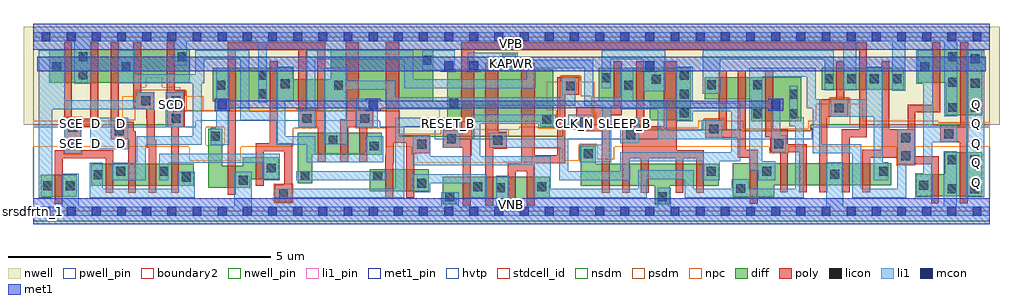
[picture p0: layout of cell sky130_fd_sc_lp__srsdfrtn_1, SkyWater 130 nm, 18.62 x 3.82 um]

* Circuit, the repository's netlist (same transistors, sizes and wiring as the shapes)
* Copyright 2020 The SkyWater PDK Authors
*
* Licensed under the Apache License, Version 2.0 (the "License");
* you may not use this file except in compliance with the License.
* You may obtain a copy of the License at
*
*     https://www.apache.org/licenses/LICENSE-2.0
*
* Unless required by applicable law or agreed to in writing, software
* distributed under the License is distributed on an "AS IS" BASIS,
* WITHOUT WARRANTIES OR CONDITIONS OF ANY KIND, either express or implied.
* See the License for the specific language governing permissions and
* limitations under the License.
*
* SPDX-License-Identifier: Apache-2.0

.SUBCKT sky130_fd_sc_lp__srsdfrtn_1 CLK_N D RESET_B SCD SCE SLEEP_B KAPWR VGND VNB VPB VPWR Q
*.PININFO CLK_N:I D:I RESET_B:I SCD:I SCE:I SLEEP_B:I KAPWR:I VGND:I
*.PININFO VNB:I VPB:I VPWR:I Q:O
MI683 net077 M1 net0143 VNB sky130_fd_pr__nfet_01v8 m=1 w=0.42U l=0.15U mult=1
+ sa=0.265 sb=0.265 sd=0.28 area=0.063 perim=1.14
MI688 db clkneg net0104 VNB sky130_fd_pr__nfet_01v8 m=1 w=0.42U l=0.15U mult=1
+ sa=0.265 sb=0.265 sd=0.28 area=0.063 perim=1.14
MI675 sleep SLEEP_B net0102 VNB sky130_fd_pr__nfet_01v8 m=1 w=0.42U l=0.15U mult=1
+ sa=0.265 sb=0.265 sd=0.28 area=0.063 perim=1.14
MI684 M1 M0 net0110 VNB sky130_fd_pr__nfet_01v8 m=1 w=0.42U l=0.15U mult=1 sa=0.265
+ sb=0.265 sd=0.28 area=0.063 perim=1.14
MI642 clkpos CLK_N net0123 VNB sky130_fd_pr__nfet_01v8 m=1 w=0.42U l=0.15U mult=1
+ sa=0.265 sb=0.265 sd=0.28 area=0.063 perim=1.14
MI636 clkneg clkpos VGND VNB sky130_fd_pr__nfet_01v8 m=1 w=0.42U l=0.15U mult=1
+ sa=0.265 sb=0.265 sd=0.28 area=0.063 perim=1.14
MI674 net062 s0 net079 VNB sky130_fd_pr__nfet_01v8 m=1 w=0.42U l=0.15U mult=1 sa=0.265
+ sb=0.265 sd=0.28 area=0.063 perim=1.14
MI690 net096 clkneg net0101 VNB sky130_fd_pr__nfet_01v8 m=1 w=0.42U l=0.15U mult=1
+ sa=0.265 sb=0.265 sd=0.28 area=0.063 perim=1.14
MI42 net0104 clkneg M0 VNB sky130_fd_pr__nfet_01v8 m=1 w=0.42U l=0.15U mult=1 sa=0.265
+ sb=0.265 sd=0.28 area=0.063 perim=1.14
MI657 net079 RESET_B VGND VNB sky130_fd_pr__nfet_01v8 m=1 w=0.42U l=0.15U mult=1
+ sa=0.265 sb=0.265 sd=0.28 area=0.063 perim=1.14
MI33 net069 RESET_B VGND VNB sky130_fd_pr__nfet_01v8 m=1 w=0.42U l=0.15U mult=1
+ sa=0.265 sb=0.265 sd=0.28 area=0.063 perim=1.14
MI634 sceb SCE VGND VNB sky130_fd_pr__nfet_01v8 m=1 w=0.42U l=0.15U mult=1 sa=0.265
+ sb=0.265 sd=0.28 area=0.063 perim=1.14
MI4 M0 clkpos net077 VNB sky130_fd_pr__nfet_01v8 m=1 w=0.42U l=0.15U mult=1 sa=0.265
+ sb=0.265 sd=0.28 area=0.063 perim=1.14
MI34 net0143 M1 net069 VNB sky130_fd_pr__nfet_01v8 m=1 w=0.42U l=0.15U mult=1 sa=0.265
+ sb=0.265 sd=0.28 area=0.063 perim=1.14
MI655 s0 clkneg net096 VNB sky130_fd_pr__nfet_01v8 m=1 w=0.42U l=0.15U mult=1 sa=0.265
+ sb=0.265 sd=0.28 area=0.063 perim=1.14
MI652 net041 s0 VGND VNB sky130_fd_pr__nfet_01v8 m=1 w=0.42U l=0.15U mult=1 sa=0.265
+ sb=0.265 sd=0.28 area=0.063 perim=1.14
MI653 Q net041 VGND VNB sky130_fd_pr__nfet_01v8 m=1 w=0.84U l=0.15U mult=1 sa=0.265
+ sb=0.265 sd=0.28 area=0.063 perim=1.14
MI654 net0101 net062 VGND VNB sky130_fd_pr__nfet_01v8 m=1 w=0.42U l=0.15U mult=1
+ sa=0.265 sb=0.265 sd=0.28 area=0.063 perim=1.14
MI647 net0110 M0 VGND VNB sky130_fd_pr__nfet_01v8 m=1 w=0.42U l=0.15U mult=1 sa=0.265
+ sb=0.265 sd=0.28 area=0.063 perim=1.14
MI649 M1 clkpos s0 VNB sky130_fd_pr__nfet_01v8 m=1 w=0.64U l=0.15U mult=1 sa=0.265
+ sb=0.265 sd=0.28 area=0.063 perim=1.14
MI671 net0115 SLEEP_B VGND VNB sky130_fd_pr__nfet_01v8 m=1 w=0.42U l=0.15U mult=1
+ sa=0.265 sb=0.265 sd=0.28 area=0.063 perim=1.14
MI670 net0123 SLEEP_B net0115 VNB sky130_fd_pr__nfet_01v8 m=1 w=0.42U l=0.15U mult=1
+ sa=0.265 sb=0.265 sd=0.28 area=0.063 perim=1.14
MI676 net0102 SLEEP_B VGND VNB sky130_fd_pr__nfet_01v8 m=1 w=0.42U l=0.15U mult=1
+ sa=0.265 sb=0.265 sd=0.28 area=0.063 perim=1.14
MI681 net069 sleep VGND VNB sky130_fd_pr__nfet_01v8 m=1 w=0.42U l=0.15U mult=1
+ sa=0.265 sb=0.265 sd=0.28 area=0.063 perim=1.14
MI666 net84 RESET_B VGND VNB sky130_fd_pr__nfet_01v8 m=1 w=0.42U l=0.15U mult=1
+ sa=0.265 sb=0.265 sd=0.28 area=0.525 perim=3.1
MI98 db D n0 VNB sky130_fd_pr__nfet_01v8 m=1 w=0.42U l=0.15U mult=1 sa=0.265 sb=0.265
+ sd=0.28 area=0.525 perim=3.1
MI103 n1 SCD net84 VNB sky130_fd_pr__nfet_01v8 m=1 w=0.42U l=0.15U mult=1 sa=0.265
+ sb=0.265 sd=0.28 area=0.525 perim=3.1
MI120 db SCE n1 VNB sky130_fd_pr__nfet_01v8 m=1 w=0.42U l=0.15U mult=1 sa=0.265
+ sb=0.265 sd=0.28 area=0.525 perim=3.1
MI104 n0 sceb net84 VNB sky130_fd_pr__nfet_01v8 m=1 w=0.42U l=0.15U mult=1 sa=0.265
+ sb=0.265 sd=0.28 area=0.525 perim=3.1
MI643 clkpos CLK_N KAPWR VPB sky130_fd_pr__pfet_01v8_hvt m=1 w=0.64U l=0.15U mult=1
+ sa=0.265 sb=0.265 sd=0.28 area=0.063 perim=1.14
MI687 db clkpos net0220 VPB sky130_fd_pr__pfet_01v8_hvt m=1 w=0.42U l=0.15U mult=1
+ sa=0.265 sb=0.265 sd=0.28 area=0.063 perim=1.14
MI679 net062 RESET_B VPWR VPB sky130_fd_pr__pfet_01v8_hvt m=1 w=0.42U l=0.15U mult=1
+ sa=0.265 sb=0.265 sd=0.28 area=0.063 perim=1.14
MI635 clkneg clkpos VPWR VPB sky130_fd_pr__pfet_01v8_hvt m=1 w=0.64U l=0.15U mult=1
+ sa=0.265 sb=0.265 sd=0.28 area=0.063 perim=1.14
MI43 net0220 clkpos M0 VPB sky130_fd_pr__pfet_01v8_hvt m=1 w=0.42U l=0.15U mult=1
+ sa=0.265 sb=0.265 sd=0.28 area=0.063 perim=1.14
MI662 net0212 net062 VPWR VPB sky130_fd_pr__pfet_01v8_hvt m=1 w=0.42U l=0.15U mult=1
+ sa=0.265 sb=0.265 sd=0.28 area=0.063 perim=1.14
MI664 s0 clkpos net0133 VPB sky130_fd_pr__pfet_01v8_hvt m=1 w=0.42U l=0.15U mult=1
+ sa=0.265 sb=0.265 sd=0.28 area=0.063 perim=1.14
MI658 net062 s0 VPWR VPB sky130_fd_pr__pfet_01v8_hvt m=1 w=0.42U l=0.15U mult=1
+ sa=0.265 sb=0.265 sd=0.28 area=0.063 perim=1.14
MI30 net0156 M1 KAPWR VPB sky130_fd_pr__pfet_01v8_hvt m=1 w=1.0U l=0.25U mult=1
+ sa=0.265 sb=0.265 sd=0.28 area=0.063 perim=1.14
MI31 M0 clkneg net0156 VPB sky130_fd_pr__pfet_01v8_hvt m=1 w=1.0U l=0.25U mult=1
+ sa=0.265 sb=0.265 sd=0.28 area=0.063 perim=1.14
MI32 M0 RESET_B net0224 VPB sky130_fd_pr__pfet_01v8_hvt m=1 w=1.0U l=0.25U mult=1
+ sa=0.265 sb=0.265 sd=0.28 area=0.063 perim=1.14
MI663 net041 s0 VPWR VPB sky130_fd_pr__pfet_01v8_hvt m=1 w=0.64U l=0.15U mult=1
+ sa=0.265 sb=0.265 sd=0.28 area=0.063 perim=1.14
MI660 Q net041 VPWR VPB sky130_fd_pr__pfet_01v8_hvt m=1 w=1.26U l=0.15U mult=1
+ sa=0.265 sb=0.265 sd=0.28 area=0.063 perim=1.14
MI648 M1 M0 KAPWR VPB sky130_fd_pr__pfet_01v8_hvt m=1 w=1.0U l=0.25U mult=1 sa=0.265
+ sb=0.265 sd=0.28 area=0.063 perim=1.14
MI650 M1 clkneg s0 VPB sky130_fd_pr__pfet_01v8_hvt m=1 w=0.84U l=0.15U mult=1 sa=0.265
+ sb=0.265 sd=0.28 area=0.063 perim=1.14
MI633 sceb SCE VPWR VPB sky130_fd_pr__pfet_01v8_hvt m=1 w=0.64U l=0.15U mult=1
+ sa=0.265 sb=0.265 sd=0.28 area=0.063 perim=1.14
MI672 clkpos SLEEP_B KAPWR VPB sky130_fd_pr__pfet_01v8_hvt m=1 w=0.64U l=0.15U mult=1
+ sa=0.265 sb=0.265 sd=0.28 area=0.063 perim=1.14
MI677 sleep SLEEP_B KAPWR VPB sky130_fd_pr__pfet_01v8_hvt m=1 w=1.0U l=0.25U mult=1
+ sa=0.265 sb=0.265 sd=0.28 area=0.063 perim=1.14
MI682 net0224 sleep KAPWR VPB sky130_fd_pr__pfet_01v8_hvt m=1 w=1.0U l=0.25U mult=1
+ sa=0.265 sb=0.265 sd=0.28 area=0.063 perim=1.14
MI689 net0133 clkpos net0212 VPB sky130_fd_pr__pfet_01v8_hvt m=1 w=0.42U l=0.15U
+ mult=1 sa=0.265 sb=0.265 sd=0.28 area=0.063
+ perim=1.14
MI101 db sceb p1 VPB sky130_fd_pr__pfet_01v8_hvt m=1 w=0.64U l=0.15U mult=1 sa=0.265
+ sb=0.265 sd=0.28 area=0.063 perim=1.14
MI107 p0 SCE VPWR VPB sky130_fd_pr__pfet_01v8_hvt m=1 w=0.64U l=0.15U mult=1 sa=0.265
+ sb=0.265 sd=0.28 area=0.063 perim=1.14
MI94 db D p0 VPB sky130_fd_pr__pfet_01v8_hvt m=1 w=0.64U l=0.15U mult=1 sa=0.265
+ sb=0.265 sd=0.28 area=0.063 perim=1.14
MI108 p1 SCD VPWR VPB sky130_fd_pr__pfet_01v8_hvt m=1 w=0.64U l=0.15U mult=1 sa=0.265
+ sb=0.265 sd=0.28 area=0.063 perim=1.14
MI665 db RESET_B VPWR VPB sky130_fd_pr__pfet_01v8_hvt m=1 w=0.64U l=0.15U mult=1
+ sa=0.265 sb=0.265 sd=0.28 area=0.063 perim=1.14
.ENDS sky130_fd_sc_lp__srsdfrtn_1

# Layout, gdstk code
import gdstk
lib = gdstk.Library(unit=1e-6, precision=1e-09)
def R(c, l, rs):  # rectangles x0, y0, x1, y1
    for r in rs: c.add(gdstk.rectangle(r[:2], r[2:], *l))
def A(c, l, x, y, w, h, nx, ny, dx, dy):  # array of equal rectangles
    R(c, l, [(x+i*dx, y+j*dy, x+i*dx+w, y+j*dy+h) for i in range(nx) for j in range(ny)])
def P(c, l, *ps):  # polygons
    for p in ps: c.add(gdstk.Polygon(p, *l))
nwell_pin = (64, 16)
nwell = (64, 20)
diff = (65, 20)
poly = (66, 20)
licon = (66, 44)
li1_pin = (67, 16)
li1 = (67, 20)
mcon = (67, 44)
met1_pin = (68, 16)
met1 = (68, 20)
hvtp = (78, 44)
stdcell_id = (81, 4)
nsdm = (93, 44)
psdm = (94, 20)
npc = (95, 20)
pwell_pin = (122, 16)
boundary2 = (236, 0)

sky130_fd_sc_lp__srsdfrt = lib.new_cell('sky130_fd_sc_lp__srsdfrtn_1')
R(sky130_fd_sc_lp__srsdfrt, nwell_pin, [(0,3.085,18.24,3.33)])
P(sky130_fd_sc_lp__srsdfrt, nwell, [(18.43,3.52),(-0.19,3.52),(-0.19,1.655),(2.67,1.655),(2.67,1.915),(6.98,1.915),(6.98,1.43),(10.1,1.43),(10.1,1.655),(11.58,1.655),(11.58,1.555),(13.515,1.555),(13.515,1.535),(14.825,1.535),(14.825,1.655),(18.43,1.655)])
R(sky130_fd_sc_lp__srsdfrt, diff, [(0.135,0.275,0.83,0.695), (6.42,0.385,7.54,0.805), (1.1,0.485,3.06,0.905), (15.035,2.315,16.6,2.735), (0.3,2.455,2.98,3.095)])
P(sky130_fd_sc_lp__srsdfrt, diff, [(4.68,1.035),(3.995,1.035),(3.995,0.865),(3.6,0.865),(3.6,1.575),(3.33,1.575),(3.33,0.445),(4.135,0.445),(4.135,0.615),(4.68,0.615)],
  [(6.64,1.495),(5.045,1.495),(5.045,0.535),(5.315,0.535),(5.315,1.075),(6.64,1.075)],
  [(7.625,3.095),(5.675,3.095),(5.675,2.515),(4.945,2.515),(4.945,2.735),(3.425,2.735),(3.425,2.095),(7.625,2.095)],
  [(9.845,0.655),(7.81,0.655),(7.81,0.135),(8.08,0.135),(8.08,0.235),(9.845,0.235)],
  [(9.92,2.705),(9.2,2.705),(9.2,3),(8.945,3),(8.945,2.705),(7.895,2.705),(7.895,1.705),(9.67,1.705),(9.67,1.61),(9.92,1.61)],
  [(12.54,2.735),(10.785,2.735),(10.785,2.095),(11.76,2.095),(11.76,1.735),(12.54,1.735)],
  [(13.075,0.905),(10.73,0.905),(10.73,1.245),(10.44,1.245),(10.44,0.485),(11.85,0.485),(11.85,0.135),(12.14,0.135),(12.14,0.485),(13.075,0.485)],
  [(14.645,2.555),(12.81,2.555),(12.81,2.135),(13.695,2.135),(13.695,1.715),(14.645,1.715)],
  [(16.365,0.915),(13.345,0.915),(13.345,0.275),(14.135,0.275),(14.135,0.495),(16.365,0.495)],
  [(18.105,3.095),(16.87,3.095),(16.87,2.455),(17.405,2.455),(17.405,1.835),(18.105,1.835)],
  [(18.105,1.125),(17.385,1.125),(17.385,0.705),(16.84,0.705),(16.84,0.285),(18.105,0.285)])
P(sky130_fd_sc_lp__srsdfrt, poly, [(1.525,1.165),(0.915,1.165),(0.915,1.615),(1.235,1.615),(1.235,3.225),(1.085,3.225),(1.085,1.765),(0.735,1.765),(0.735,3.225),(0.585,3.225),(0.585,1.165),(0.41,1.165),(0.41,0.145),(0.56,0.145),(0.56,1.015),(1.375,1.015),(1.375,0.355),(1.525,0.355)],
  [(1.955,1.525),(1.915,1.525),(1.915,1.705),(1.625,1.705),(1.625,3.225),(1.475,3.225),(1.475,1.375),(1.805,1.375),(1.805,0.355),(1.955,0.355)],
  [(2.345,1.365),(2.315,1.365),(2.315,1.915),(2.305,1.915),(2.305,2.275),(2.055,2.275),(2.055,3.225),(1.905,3.225),(1.905,1.945),(2.155,1.945),(2.155,1.765),(2.165,1.765),(2.165,1.215),(2.195,1.215),(2.195,0.355),(2.345,0.355)],
  [(2.885,2.305),(2.695,2.305),(2.695,3.225),(2.545,3.225),(2.545,2.155),(2.555,2.155),(2.555,1.605),(2.625,1.605),(2.625,0.355),(2.775,0.355),(2.775,1.605),(2.885,1.605)],
  [(4.935,1.295),(4.66,1.295),(4.66,2.865),(4.51,2.865),(4.51,1.295),(4.245,1.295),(4.245,0.485),(4.395,0.485),(4.395,1.145),(4.785,1.145),(4.785,0.505),(4.605,0.505),(4.605,0.175),(4.935,0.175)],
  [(5.575,1.935),(5.565,1.935),(5.565,3.225),(5.415,3.225),(5.415,1.935),(5.205,1.935),(5.205,3.075),(5.415,3.075),(5.415,3.225),(3.71,3.225),(3.71,0.315),(3.86,0.315),(3.86,3.075),(5.055,3.075),(5.055,1.935),(5.05,1.935),(5.05,1.605),(5.425,1.605),(5.425,0.945),(5.575,0.945)],
  [(6.485,1.935),(6.21,1.935),(6.21,3.225),(5.96,3.225),(5.96,1.755),(5.855,1.755),(5.855,0.945),(6.005,0.945),(6.005,1.605),(6.215,1.605),(6.215,0.945),(6.365,0.945),(6.365,1.605),(6.485,1.605)],
  [(7.57,1.455),(6.975,1.455),(6.975,3.225),(6.725,3.225),(6.725,1.065),(6.715,1.065),(6.715,0.255),(6.865,0.255),(6.865,0.915),(6.875,0.915),(6.875,1.305),(7.115,1.305),(7.115,0.255),(7.265,0.255),(7.265,1.11),(7.57,1.11)],
  [(9.025,1.52),(8.87,1.52),(8.87,2.835),(8.62,2.835),(8.62,0.105),(8.77,0.105),(8.77,1.19),(9.025,1.19)],
  [(10.41,2.555),(9.995,2.555),(9.995,1.065),(9.56,1.065),(9.56,2.835),(9.31,2.835),(9.31,0.915),(9.05,0.915),(9.05,0.105),(9.2,0.105),(9.2,0.765),(9.41,0.765),(9.41,0.105),(9.56,0.105),(9.56,0.915),(10.145,0.915),(10.145,2.225),(10.41,2.225)],
  [(11.22,2.865),(11.07,2.865),(11.07,1.985),(10.355,1.985),(10.355,1.53),(10.84,1.53),(10.84,0.355),(10.99,0.355),(10.99,1.835),(11.22,1.835)],
  [(12.79,1.165),(12.275,1.165),(12.275,2.865),(12.025,2.865),(12.025,1.625),(11.65,1.625),(11.65,2.865),(11.5,2.865),(11.5,1.625),(11.23,1.625),(11.23,0.355),(11.38,0.355),(11.38,1.015),(11.59,1.015),(11.59,0.355),(11.74,0.355),(11.74,1.015),(12.25,1.015),(12.25,0.355),(12.4,0.355),(12.4,1.015),(12.64,1.015),(12.64,0.355),(12.79,0.355)],
  [(13.815,1.175),(13.585,1.175),(13.585,2.685),(13.435,2.685),(13.435,1.555),(13.225,1.555),(13.225,2.685),(13.075,2.685),(13.075,1.735),(12.815,1.735),(12.815,1.405),(13.435,1.405),(13.435,1.025),(13.665,1.025),(13.665,0.145),(13.815,0.145)],
  [(14.755,1.275),(14.395,1.275),(14.395,1.565),(14.11,1.565),(14.11,2.685),(13.96,2.685),(13.96,1.415),(14.055,1.415),(14.055,1.125),(14.245,1.125),(14.245,0.365),(14.395,0.365),(14.395,1.125),(14.605,1.125),(14.605,0.365),(14.755,0.365)],
  [(15.54,2.135),(15.47,2.135),(15.47,2.865),(15.32,2.865),(15.32,2.135),(14.995,2.135),(14.995,0.365),(15.145,0.365),(15.145,1.805),(15.54,1.805)],
  [(15.9,3.225),(8.16,3.225),(8.16,1.545),(7.81,1.545),(7.81,1.215),(8.19,1.215),(8.19,0.105),(8.34,0.105),(8.34,1.395),(8.41,1.395),(8.41,3.075),(15.75,3.075),(15.75,1.565),(15.425,1.565),(15.425,0.365),(15.575,0.365),(15.575,1.415),(15.9,1.415)],
  [(17.295,3.225),(17.145,3.225),(17.145,2.035),(16.675,2.035),(16.675,1.565),(16.33,1.565),(16.33,2.865),(16.18,2.865),(16.18,1.175),(15.815,1.175),(15.815,0.365),(15.965,0.365),(15.965,1.025),(16.48,1.025),(16.48,0.895),(17.125,0.895),(17.125,0.155),(17.275,0.155),(17.275,1.045),(16.825,1.045),(16.825,1.885),(17.295,1.885)],
  [(17.83,3.225),(17.68,3.225),(17.68,1.645),(17.295,1.645),(17.295,1.315),(17.67,1.315),(17.67,0.155),(17.82,0.155),(17.82,1.315),(17.83,1.315)])
A(sky130_fd_sc_lp__srsdfrt, licon, 12.33, 1.795, 0.17, 0.17, 1, 3, 0, 0.355)
A(sky130_fd_sc_lp__srsdfrt, licon, 17.455, 1.895, 0.17, 0.17, 1, 3, 0, 0.485)
A(sky130_fd_sc_lp__srsdfrt, licon, 17.885, 1.895, 0.17, 0.17, 1, 3, 0, 0.465)
R(sky130_fd_sc_lp__srsdfrt, licon, [(7.86,0.195,8.03,0.365), (11.91,0.195,12.08,0.365), (4.685,0.255,4.855,0.425), (17.445,0.345,17.615,0.515), (17.875,0.345,18.045,0.515), (13.405,0.35,13.575,0.52), (8.825,0.36,8.995,0.53), (8.395,0.38,8.565,0.55), (9.615,0.38,9.785,0.55), (0.185,0.4,0.355,0.57), (0.615,0.4,0.785,0.57), (16.9,0.41,17.07,0.58), (7.32,0.45,7.49,0.62), (3.915,0.505,4.085,0.675), (2.83,0.565,3,0.735), (5.095,0.595,5.265,0.765), (6.48,0.595,6.65,0.765), (1.15,0.61,1.32,0.78), (15.2,0.62,15.37,0.79), (1.58,0.675,1.75,0.845), (2.4,0.675,2.57,0.845), (12.845,0.675,13.015,0.845), (13.905,0.68,14.075,0.85), (16.135,0.68,16.305,0.85), (4.45,0.74,4.62,0.91), (17.445,0.895,17.615,1.065), (17.875,0.895,18.045,1.065), (16.56,0.975,16.73,1.145), (10.5,1.015,10.67,1.185), (6.42,1.16,6.59,1.33), (0.665,1.175,0.835,1.345), (7.32,1.19,7.49,1.36), (14.135,1.205,14.305,1.375), (8.775,1.27,8.945,1.44), (5.63,1.275,5.8,1.445), (7.89,1.295,8.06,1.465), (16.56,1.315,16.73,1.485), (3.38,1.345,3.55,1.515), (11.31,1.375,11.48,1.545), (17.375,1.395,17.545,1.565), (1.555,1.455,1.725,1.625), (12.895,1.485,13.065,1.655), (0.665,1.515,0.835,1.685), (10.435,1.61,10.605,1.78), (9.71,1.67,9.88,1.84), (2.635,1.685,2.805,1.855), (5.13,1.685,5.3,1.855), (6.235,1.685,6.405,1.855), (13.735,1.775,13.905,1.945), (14.415,1.775,14.585,1.945), (15.29,1.885,15.46,2.055), (7.935,1.98,8.105,2.15), (2.055,2.025,2.225,2.195), (2.635,2.025,2.805,2.195), (14.415,2.145,14.585,2.315), (4.285,2.155,4.455,2.325), (10.16,2.305,10.33,2.475), (3.485,2.32,3.655,2.49), (5.735,2.32,5.905,2.49), (11.275,2.32,11.445,2.49), (12.85,2.325,13.02,2.495), (13.735,2.325,13.905,2.495), (4.715,2.345,4.885,2.515), (11.8,2.435,11.97,2.605), (15.955,2.44,16.125,2.61), (16.385,2.44,16.555,2.61), (15.095,2.445,15.265,2.615), (15.525,2.445,15.695,2.615), (10.845,2.465,11.015,2.635), (4.285,2.505,4.455,2.675), (0.86,2.515,1.03,2.685), (0.36,2.67,0.53,2.84), (16.92,2.67,17.09,2.84), (1.68,2.675,1.85,2.845), (8.99,2.77,9.16,2.94), (7.415,2.795,7.585,2.965), (0.86,2.865,1.03,3.035), (2.75,2.865,2.92,3.035)])
A(sky130_fd_sc_lp__srsdfrt, li1_pin, 17.915, 0.47, 0.17, 0.17, 1, 5, 0, 0.37)
A(sky130_fd_sc_lp__srsdfrt, li1_pin, 0.635, 1.21, 0.17, 0.17, 3, 2, 0.48, 0.37)
R(sky130_fd_sc_lp__srsdfrt, li1_pin, [(7.835,1.58,8.005,1.75), (10.235,1.58,10.405,1.75), (11.195,1.58,11.365,1.75), (2.555,1.95,2.725,2.12)])
R(sky130_fd_sc_lp__srsdfrt, li1, [(17.795,0.265,18.135,3.075), (5.015,0.595,6.73,0.765), (0.585,1.095,0.915,1.78), (1.085,1.18,1.805,1.78), (11.195,1.295,11.56,1.78), (10.205,1.555,10.685,1.84), (2.525,1.605,2.87,2.275), (6.155,1.605,6.565,2.15), (7.415,2.69,8.035,3.075), (8.285,2.69,9.24,3.02)])
P(sky130_fd_sc_lp__srsdfrt, li1, [(18.24,0.085),(17.615,0.085),(17.615,1.145),(17.365,1.145),(17.365,0.085),(15.45,0.085),(15.45,0.935),(15.12,0.935),(15.12,0.085),(12.16,0.085),(12.16,0.445),(11.91,0.445),(11.91,0.085),(9.075,0.085),(9.075,0.675),(8.825,0.675),(8.825,0.085),(8.11,0.085),(8.11,0.365),(7.78,0.365),(7.78,0.085),(4.165,0.085),(4.165,0.755),(3.835,0.755),(3.835,0.085),(0.865,0.085),(0.865,0.715),(0.535,0.715),(0.535,0.085),(0,0.085),(0,-0.085),(18.24,-0.085)],
  [(16.305,0.935),(16.205,0.935),(16.205,2.755),(15.875,2.755),(15.875,2.135),(15.21,2.135),(15.21,1.805),(16.035,1.805),(16.035,0.595),(16.305,0.595)],
  [(16.81,1.565),(16.48,1.565),(16.48,0.425),(15.79,0.425),(15.79,1.275),(15.04,1.275),(15.04,2.135),(14.925,2.135),(14.925,2.735),(13.655,2.735),(13.655,0.785),(13.825,0.785),(13.825,0.595),(14.155,0.595),(14.155,0.955),(13.905,0.955),(13.905,2.565),(14.755,2.565),(14.755,1.965),(14.87,1.965),(14.87,1.105),(15.62,1.105),(15.62,0.255),(16.65,0.255),(16.65,0.895),(16.81,0.895)],
  [(17.625,1.645),(17.17,1.645),(17.17,3.075),(16.84,3.075),(16.84,2.435),(16.98,2.435),(16.98,0.725),(16.82,0.725),(16.82,0.265),(17.15,0.265),(17.15,1.315),(17.625,1.315)],
  [(18.24,3.415),(0,3.415),(0,3.245),(0.78,3.245),(0.78,2.435),(1.11,2.435),(1.11,3.245),(2.67,3.245),(2.67,2.785),(2.92,2.785),(2.92,3.245),(4.285,3.245),(4.285,2.075),(4.455,2.075),(4.455,3.245),(15.445,3.245),(15.445,2.305),(15.695,2.305),(15.695,3.245),(16.385,3.245),(16.385,2.295),(16.635,2.295),(16.635,3.245),(17.375,3.245),(17.375,1.815),(17.625,1.815),(17.625,3.245),(18.24,3.245)],
  [(3.08,0.755),(2.75,0.755),(2.75,0.425),(1.32,0.425),(1.32,0.925),(1.07,0.925),(1.07,0.255),(3.08,0.255)],
  [(3.735,2.735),(3.485,2.735),(3.485,1.595),(3.38,1.595),(3.38,1.265),(3.735,1.265)],
  [(4.7,1.095),(2.4,1.095),(2.4,0.595),(2.57,0.595),(2.57,0.925),(4.37,0.925),(4.37,0.595),(4.7,0.595)],
  [(10.335,2.555),(10.08,2.555),(10.08,2.18),(6.905,2.18),(6.905,2.49),(5.985,2.49),(5.985,2.735),(5.55,2.735),(5.55,1.275),(5.985,1.275),(5.985,2.32),(6.735,2.32),(6.735,1.95),(8.185,1.95),(8.185,2.01),(10.335,2.01)],
  [(12.05,3.075),(10.845,3.075),(10.845,2.35),(11.015,2.35),(11.015,2.905),(11.645,2.905),(11.645,2.29),(12.05,2.29)],
  [(13.145,1.735),(12.75,1.735),(12.75,1.545),(12.08,1.545),(12.08,2.12),(11.445,2.12),(11.445,2.735),(11.195,2.735),(11.195,2.18),(10.675,2.18),(10.675,2.895),(9.41,2.895),(9.41,2.52),(7.245,2.52),(7.245,3.075),(5.21,3.075),(5.21,1.935),(5.05,1.935),(5.05,1.605),(5.38,1.605),(5.38,2.905),(7.075,2.905),(7.075,2.35),(9.58,2.35),(9.58,2.725),(10.505,2.725),(10.505,2.01),(10.855,2.01),(10.855,1.265),(10.42,1.265),(10.42,0.935),(11.025,0.935),(11.025,2.01),(11.195,2.01),(11.195,1.95),(11.91,1.95),(11.91,1.375),(13.145,1.375)],
  [(13.485,2.075),(12.58,2.075),(12.58,2.755),(12.25,2.755),(12.25,1.715),(12.58,1.715),(12.58,1.905),(13.315,1.905),(13.315,1.125),(11.195,1.125),(11.195,0.765),(10.205,0.765),(10.205,1.385),(9.025,1.385),(9.025,1.5),(8.695,1.5),(8.695,1.215),(10.035,1.215),(10.035,0.595),(11.365,0.595),(11.365,0.955),(12.765,0.955),(12.765,0.595),(13.095,0.595),(13.095,0.955),(13.485,0.955)],
  [(14.36,1.455),(14.245,1.455),(14.245,2.15),(14.075,2.15),(14.075,1.125),(14.36,1.125)],
  [(14.7,1.795),(14.585,1.795),(14.585,2.395),(14.415,2.395),(14.415,1.625),(14.53,1.625),(14.53,0.425),(13.655,0.425),(13.655,0.615),(13.325,0.615),(13.325,0.425),(12.595,0.425),(12.595,0.785),(11.535,0.785),(11.535,0.425),(9.865,0.425),(9.865,1.045),(8.525,1.045),(8.525,1.67),(9.63,1.67),(9.63,1.59),(9.96,1.59),(9.96,1.84),(8.355,1.84),(8.355,1.045),(7.57,1.045),(7.57,1.44),(7.24,1.44),(7.24,0.875),(9.535,0.875),(9.535,0.255),(11.705,0.255),(11.705,0.615),(12.425,0.615),(12.425,0.255),(14.7,0.255)],
  [(15.265,3.075),(12.77,3.075),(12.77,2.245),(13.1,2.245),(13.1,2.905),(15.095,2.905),(15.095,2.305),(15.265,2.305)],
  [(6.67,1.435),(6.34,1.435),(6.34,1.105),(5.38,1.105),(5.38,1.435),(4.805,1.435),(4.805,2.105),(4.965,2.105),(4.965,2.755),(4.635,2.755),(4.635,1.905),(4.115,1.905),(4.115,3.075),(3.09,3.075),(3.09,2.615),(1.93,2.615),(1.93,3.075),(1.6,3.075),(1.6,2.445),(3.04,2.445),(3.04,1.435),(1.975,1.435),(1.975,0.925),(1.5,0.925),(1.5,0.595),(2.145,0.595),(2.145,1.265),(3.21,1.265),(3.21,2.445),(3.26,2.445),(3.26,2.905),(3.945,2.905),(3.945,1.735),(4.635,1.735),(4.635,1.265),(5.21,1.265),(5.21,0.935),(6.67,0.935)],
  [(8.14,1.78),(6.9,1.78),(6.9,0.425),(4.605,0.425),(4.605,0.255),(7.07,0.255),(7.07,1.61),(7.805,1.61),(7.805,1.215),(8.14,1.215)],
  [(8.645,0.705),(7.24,0.705),(7.24,0.365),(7.57,0.365),(7.57,0.535),(8.315,0.535),(8.315,0.255),(8.645,0.255)],
  [(2.305,2.275),(1.975,2.275),(1.975,2.12),(0.61,2.12),(0.61,3.075),(0.105,3.075),(0.105,0.255),(0.355,0.255),(0.355,1.95),(1.975,1.95),(1.975,1.945),(2.305,1.945)])
A(sky130_fd_sc_lp__srsdfrt, mcon, 0.155, -0.085, 0.17, 0.17, 38, 2, 0.48, 3.33)
R(sky130_fd_sc_lp__srsdfrt, mcon, [(3.515,1.95,3.685,2.12), (6.395,1.95,6.565,2.12), (14.075,1.95,14.245,2.12), (7.835,2.69,8.005,2.86), (8.315,2.69,8.485,2.86), (11.675,2.69,11.845,2.86)])
R(sky130_fd_sc_lp__srsdfrt, met1_pin, [(0,0,18.24,0.245), (0.07,2.675,18.17,2.945), (0,3.085,18.24,3.33)])
R(sky130_fd_sc_lp__srsdfrt, met1, [(0,-0.245,18.24,0.245), (0,3.085,18.24,3.575)])
P(sky130_fd_sc_lp__srsdfrt, met1, [(14.305,2.15),(14.015,2.15),(14.015,2.105),(6.625,2.105),(6.625,2.15),(6.335,2.15),(6.335,2.105),(3.745,2.105),(3.745,2.15),(3.455,2.15),(3.455,1.92),(3.745,1.92),(3.745,1.965),(6.335,1.965),(6.335,1.92),(6.625,1.92),(6.625,1.965),(14.015,1.965),(14.015,1.92),(14.305,1.92)],
  [(7.775,2.66),(7.775,2.675),(0.07,2.675),(0.07,2.945),(18.17,2.945),(18.17,2.675),(11.905,2.675),(11.905,2.66),(11.615,2.66),(11.615,2.675),(8.545,2.675),(8.545,2.66),(8.255,2.66),(8.255,2.675),(8.065,2.675),(8.065,2.66)])
P(sky130_fd_sc_lp__srsdfrt, hvtp, [(18.24,3.33),(0,3.33),(0,1.6),(3.095,1.6),(3.095,1.73),(6.605,1.73),(6.605,1.6),(7.66,1.6),(7.66,1.375),(14.855,1.375),(14.855,1.6),(18.24,1.6)])
R(sky130_fd_sc_lp__srsdfrt, stdcell_id, [(0,0,18.24,3.33)])
P(sky130_fd_sc_lp__srsdfrt, nsdm, [(18.24,1.655),(14.825,1.655),(14.825,1.535),(13.515,1.535),(13.515,1.555),(11.58,1.555),(11.58,1.655),(10.1,1.655),(10.1,1.43),(6.98,1.43),(6.98,1.915),(2.67,1.915),(2.67,1.655),(0,1.655),(0,-0.19),(18.24,-0.19)])
P(sky130_fd_sc_lp__srsdfrt, psdm, [(18.24,3.52),(0,3.52),(0,1.655),(0.555,1.655),(0.555,1.795),(0.945,1.795),(0.945,1.655),(1.445,1.655),(1.445,1.735),(1.945,1.735),(1.945,2.305),(2.915,2.305),(2.915,1.915),(5.02,1.915),(5.02,1.965),(5.41,1.965),(5.41,1.915),(6.125,1.915),(6.125,1.965),(6.515,1.965),(6.515,1.915),(6.98,1.915),(6.98,1.47),(7.78,1.47),(7.78,1.575),(8.17,1.575),(8.17,1.43),(8.665,1.43),(8.665,1.55),(9.055,1.55),(9.055,1.43),(10.05,1.43),(10.05,2.585),(10.44,2.585),(10.44,2.195),(10.655,2.195),(10.655,1.88),(10.715,1.88),(10.715,1.655),(11.59,1.655),(11.59,1.555),(12.785,1.555),(12.785,1.765),(13.175,1.765),(13.175,1.555),(13.515,1.555),(13.515,1.535),(14.825,1.535),(14.825,1.655),(15.18,1.655),(15.18,2.165),(15.57,2.165),(15.57,1.655),(17.265,1.655),(17.265,1.675),(17.655,1.675),(17.655,1.655),(18.24,1.655)])
R(sky130_fd_sc_lp__srsdfrt, npc, [(4.585,0.155,4.955,0.525)])
P(sky130_fd_sc_lp__srsdfrt, npc, [(5.4,1.955),(5.03,1.955),(5.03,1.93),(3.64,1.93),(3.64,1.255),(3.29,1.255),(3.29,1.605),(3.64,1.605),(3.64,1.93),(3.24,1.93),(3.24,2.195),(2.905,2.195),(2.905,2.295),(2.8,2.295),(2.8,2.365),(2.455,2.365),(2.455,2.56),(2.145,2.56),(2.145,2.365),(2.06,2.365),(2.06,2.295),(1.955,2.295),(1.955,2.19),(1.69,2.19),(1.69,1.73),(0.935,1.73),(0.935,1.785),(0.565,1.785),(0.565,1.73),(0,1.73),(0,1.23),(0.565,1.23),(0.565,1.075),(0.935,1.075),(0.935,1.23),(2.975,1.23),(2.975,0.965),(3.955,0.965),(3.955,1.23),(4.955,1.23),(4.955,1.585),(5.4,1.585)],
  [(18.24,1.695),(17.265,1.695),(17.265,1.73),(15.825,1.73),(15.825,2.05),(15.56,2.05),(15.56,2.155),(15.19,2.155),(15.19,2.05),(14.925,2.05),(14.925,1.73),(14.785,1.73),(14.785,1.575),(13.555,1.575),(13.555,1.73),(13.165,1.73),(13.165,1.755),(12.795,1.755),(12.795,1.73),(12.68,1.73),(12.68,1.595),(11.62,1.595),(11.62,1.73),(10.705,1.73),(10.705,1.88),(10.695,1.88),(10.695,2.47),(10.43,2.47),(10.43,2.575),(10.06,2.575),(10.06,2.47),(9.795,2.47),(9.795,1.93),(9.97,1.93),(9.97,1.58),(9.62,1.58),(9.62,1.615),(9.265,1.615),(9.265,1.565),(7.755,1.565),(7.755,1.955),(6.135,1.955),(6.135,1.585),(6.73,1.585),(6.73,1.23),(7.22,1.23),(7.22,1.09),(7.325,1.09),(7.325,0.93),(8.94,0.93),(8.94,0.94),(9.53,0.94),(9.53,1.205),(10.085,1.205),(10.085,0.965),(10.41,0.965),(10.41,1.275),(10.76,1.275),(10.76,0.995),(11.085,0.995),(11.085,1.23),(14.035,1.23),(14.035,1.105),(14.405,1.105),(14.405,1.23),(16.46,1.23),(16.46,0.875),(16.83,0.875),(16.83,1.23),(18.24,1.23)])
R(sky130_fd_sc_lp__srsdfrt, pwell_pin, [(0,0,18.24,0.245)])
R(sky130_fd_sc_lp__srsdfrt, boundary2, [(0,0,18.24,3.33)])
sky130_fd_sc_lp__srsdfrt.add(gdstk.Label('VNB', (9.12,0.123), layer=64, texttype=59))
sky130_fd_sc_lp__srsdfrt.add(gdstk.Label('VPB', (9.12,3.208), layer=64, texttype=5))
sky130_fd_sc_lp__srsdfrt.add(gdstk.Label('srsdfrtn_1', (0,0), layer=83, texttype=44))
sky130_fd_sc_lp__srsdfrt.add(gdstk.Label('KAPWR', (9.12,2.81), layer=68, texttype=5))
sky130_fd_sc_lp__srsdfrt.add(gdstk.Label('VPWR', (9.12,3.208), layer=68, texttype=5))
sky130_fd_sc_lp__srsdfrt.add(gdstk.Label('VGND', (9.12,0.123), layer=68, texttype=5))
sky130_fd_sc_lp__srsdfrt.add(gdstk.Label('RESET_B', (7.92,1.665), layer=67, texttype=5))
sky130_fd_sc_lp__srsdfrt.add(gdstk.Label('Q', (18,0.555), layer=67, texttype=5))
sky130_fd_sc_lp__srsdfrt.add(gdstk.Label('Q', (18,0.925), layer=67, texttype=5))
sky130_fd_sc_lp__srsdfrt.add(gdstk.Label('Q', (18,1.295), layer=67, texttype=5))
sky130_fd_sc_lp__srsdfrt.add(gdstk.Label('Q', (18,1.665), layer=67, texttype=5))
sky130_fd_sc_lp__srsdfrt.add(gdstk.Label('Q', (18,2.035), layer=67, texttype=5))
sky130_fd_sc_lp__srsdfrt.add(gdstk.Label('SLEEP_B', (11.28,1.665), layer=67, texttype=5))
sky130_fd_sc_lp__srsdfrt.add(gdstk.Label('SCD', (2.64,2.035), layer=67, texttype=5))
sky130_fd_sc_lp__srsdfrt.add(gdstk.Label('D', (1.2,1.295), layer=67, texttype=5))
sky130_fd_sc_lp__srsdfrt.add(gdstk.Label('D', (1.2,1.665), layer=67, texttype=5))
sky130_fd_sc_lp__srsdfrt.add(gdstk.Label('D', (1.68,1.295), layer=67, texttype=5))
sky130_fd_sc_lp__srsdfrt.add(gdstk.Label('D', (1.68,1.665), layer=67, texttype=5))
sky130_fd_sc_lp__srsdfrt.add(gdstk.Label('CLK_N', (10.32,1.665), layer=67, texttype=5))
sky130_fd_sc_lp__srsdfrt.add(gdstk.Label('SCE', (0.72,1.295), layer=67, texttype=5))
sky130_fd_sc_lp__srsdfrt.add(gdstk.Label('SCE', (0.72,1.665), layer=67, texttype=5))

lib.write_gds('sky130_fd_sc_lp__srsdfrtn_1.gds')
